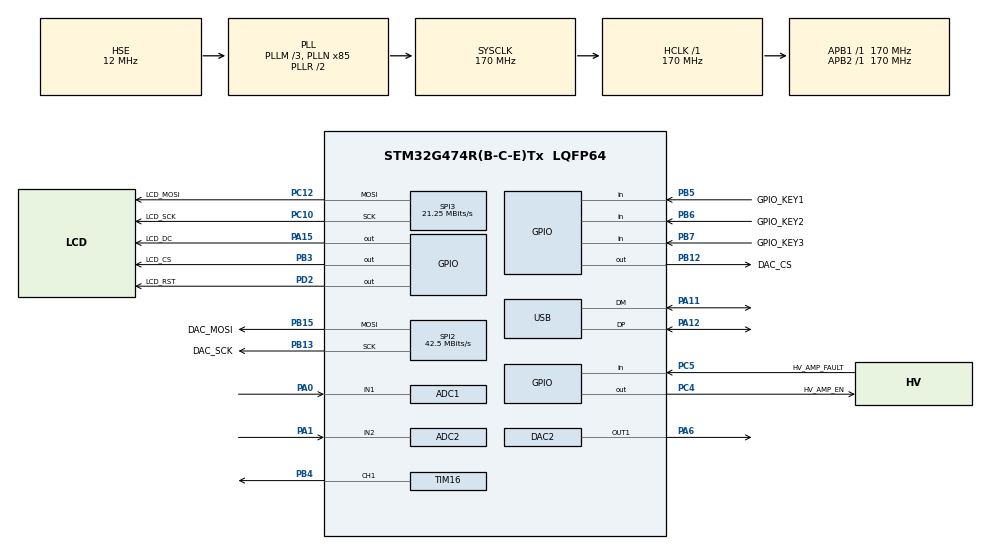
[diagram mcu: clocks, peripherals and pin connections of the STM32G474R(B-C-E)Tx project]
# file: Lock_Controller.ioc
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ADC1.Channel-0\#ChannelRegularConversion=ADC_CHANNEL_1
ADC1.ClockPrescaler=ADC_CLOCK_ASYNC_DIV1
ADC1.DMAAccessModeView=ENABLE
ADC1.DMAContinuousRequests=ENABLE
ADC1.ExternalTrigConv=ADC_EXTERNALTRIG_T1_TRGO
ADC1.Mode=ADC_DUALMODE_REGSIMULT
ADC1.NbrOfConversion=1
ADC1.NbrOfConversionFlag=1
ADC1.OffsetNumber-0\#ChannelRegularConversion=ADC_OFFSET_NONE
ADC1.OversamplingMode=DISABLE
ADC1.Rank-0\#ChannelRegularConversion=1
ADC1.SamplingTime-0\#ChannelRegularConversion=ADC_SAMPLETIME_2CYCLES_5
ADC1.master=1
ADC2.Channel-0\#ChannelRegularConversion=ADC_CHANNEL_2
ADC2.ClockPrescaler=ADC_CLOCK_ASYNC_DIV1
ADC2.DMAAccessModeView=ENABLE
ADC2.Mode=ADC_DUALMODE_REGSIMULT
ADC2.NbrOfConversion=1
ADC2.NbrOfConversionFlag=1
ADC2.OffsetNumber-0\#ChannelRegularConversion=ADC_OFFSET_NONE
ADC2.OversamplingMode=DISABLE
ADC2.Rank-0\#ChannelRegularConversion=1
ADC2.SamplingTime-0\#ChannelRegularConversion=ADC_SAMPLETIME_2CYCLES_5
Dma.ADC1.0.Direction=DMA_PERIPH_TO_MEMORY
Dma.ADC1.0.EventEnable=DISABLE
Dma.ADC1.0.Instance=DMA1_Channel1
Dma.ADC1.0.MemDataAlignment=DMA_MDATAALIGN_WORD
Dma.ADC1.0.MemInc=DMA_MINC_ENABLE
Dma.ADC1.0.Mode=DMA_CIRCULAR
Dma.ADC1.0.PeriphDataAlignment=DMA_PDATAALIGN_WORD
Dma.ADC1.0.PeriphInc=DMA_PINC_DISABLE
Dma.ADC1.0.Polarity=HAL_DMAMUX_REQ_GEN_RISING
Dma.ADC1.0.Priority=DMA_PRIORITY_LOW
Dma.ADC1.0.RequestNumber=1
Dma.ADC1.0.SignalID=NONE
Dma.ADC1.0.SyncEnable=DISABLE
Dma.ADC1.0.SyncPolarity=HAL_DMAMUX_SYNC_NO_EVENT
Dma.ADC1.0.SyncRequestNumber=1
Dma.ADC1.0.SyncSignalID=NONE
Dma.Request0=ADC1
Mcu.Family=STM32G4
Mcu.Name=STM32G474R(B-C-E)Tx
Mcu.Package=LQFP64
NVIC.ADC1_2_IRQn=true\:0\:0\:false\:false\:true\:true\:true\:true
NVIC.DMA1_Channel1_IRQn=true\:0\:0\:false\:false\:true\:false\:true\:true
NVIC.PriorityGroup=NVIC_PRIORITYGROUP_4
NVIC.TIM1_BRK_TIM15_IRQn=true\:15\:0\:true\:false\:true\:true\:true\:true
PA0.Mode=IN1-Single-Ended
PA0.Signal=ADC1_IN1
PA1.Mode=IN2-Single-Ended
PA1.Signal=ADC2_IN2
PA11.Mode=Device
PA11.Signal=USB_DM
PA12.Mode=Device
PA12.Signal=USB_DP
PA13.Mode=Serial_Wire
PA13.Signal=SYS_JTMS-SWDIO
PA14.Mode=Serial_Wire
PA14.Signal=SYS_JTCK-SWCLK
PA15.GPIO_Label=LCD_DC
PA15.GPIO_Speed=GPIO_SPEED_FREQ_VERY_HIGH
PA15.Signal=GPIO_Output
PA6.Signal=COMP_DAC21_group
PB12.GPIO_Label=DAC_CS
PB12.GPIO_Speed=GPIO_SPEED_FREQ_VERY_HIGH
PB12.PinState=GPIO_PIN_SET
PB12.Signal=GPIO_Output
PB13.GPIO_Label=DAC_SCK
PB13.GPIO_Speed=GPIO_SPEED_FREQ_VERY_HIGH
PB13.Mode=TX_Only_Simplex_Unidirect_Master
PB13.Signal=SPI2_SCK
PB15.GPIO_Label=DAC_MOSI
PB15.GPIO_Speed=GPIO_SPEED_FREQ_VERY_HIGH
PB15.Mode=TX_Only_Simplex_Unidirect_Master
PB15.Signal=SPI2_MOSI
PB3.GPIO_Label=LCD_CS
PB3.GPIO_Speed=GPIO_SPEED_FREQ_VERY_HIGH
PB3.PinState=GPIO_PIN_SET
PB3.Signal=GPIO_Output
PB4.Signal=S_TIM16_CH1
PB5.GPIO_Label=GPIO_KEY1
PB5.GPIO_PuPd=GPIO_PULLUP
PB5.Signal=GPIO_Input
PB6.GPIO_Label=GPIO_KEY2
PB6.GPIO_PuPd=GPIO_PULLUP
PB6.Signal=GPIO_Input
PB7.GPIO_Label=GPIO_KEY3
PB7.GPIO_PuPd=GPIO_PULLUP
PB7.Signal=GPIO_Input
PC10.GPIO_Label=LCD_SCK
PC10.GPIO_Speed=GPIO_SPEED_FREQ_VERY_HIGH
PC10.Mode=TX_Only_Simplex_Unidirect_Master
PC10.Signal=SPI3_SCK
PC12.GPIO_Label=LCD_MOSI
PC12.GPIO_Speed=GPIO_SPEED_FREQ_VERY_HIGH
PC12.Mode=TX_Only_Simplex_Unidirect_Master
PC12.Signal=SPI3_MOSI
PC4.GPIO_Label=HV_AMP_EN
PC4.PinState=GPIO_PIN_SET
PC4.Signal=GPIO_Output
PC5.GPIO_Label=HV_AMP_FAULT
PC5.GPIO_PuPd=GPIO_PULLUP
PC5.Signal=GPIO_Input
PD2.GPIO_Label=LCD_RST
PD2.Signal=GPIO_Output
PF0-OSC_IN.Mode=HSE-External-Oscillator
PF0-OSC_IN.Signal=RCC_OSC_IN
PF1-OSC_OUT.Mode=HSE-External-Oscillator
PF1-OSC_OUT.Signal=RCC_OSC_OUT
ProjectManager.HeapSize=0x200
ProjectManager.StackSize=0x400
ProjectManager.TargetToolchain=MDK-ARM V5
RCC.ADC12CLockSelection=RCC_ADC12CLKSOURCE_PLL
RCC.ADC12Freq_Value=56666666.666666664
RCC.ADC345Freq_Value=170000000
RCC.AHBFreq_Value=170000000
RCC.APB1Freq_Value=170000000
RCC.APB1TimFreq_Value=170000000
RCC.APB2Freq_Value=170000000
RCC.APB2TimFreq_Value=170000000
RCC.CK48CLockSelection=RCC_USBCLKSOURCE_HSI48
RCC.CortexFreq_Value=170000000
RCC.EXTERNAL_CLOCK_VALUE=12288000
RCC.HCLKFreq_Value=170000000
RCC.HSE_VALUE=12000000
RCC.HSI48_VALUE=48000000
RCC.HSI_VALUE=16000000
RCC.LSE_VALUE=32768
RCC.PLLM=RCC_PLLM_DIV3
RCC.PLLN=85
RCC.PLLP=RCC_PLLP_DIV6
RCC.PLLQ=RCC_PLLQ_DIV6
RCC.PLLSourceVirtual=RCC_PLLSOURCE_HSE
RCC.SYSCLKFreq_VALUE=170000000
RCC.SYSCLKSource=RCC_SYSCLKSOURCE_PLLCLK
RCC.USBFreq_Value=48000000
RCC.VCOOutputFreq_Value=340000000
SH.COMP_DAC21_group.0=DAC2_OUT1,DAC_OUT1
SH.S_TIM16_CH1.0=TIM16_CH1,PWM Generation1 CH1
SPI2.BaudRatePrescaler=SPI_BAUDRATEPRESCALER_4
SPI2.CalculateBaudRate=42.5 MBits/s
SPI2.DataSize=SPI_DATASIZE_16BIT
SPI2.Direction=SPI_DIRECTION_2LINES
SPI2.Mode=SPI_MODE_MASTER
SPI2.NSSPMode=SPI_NSS_PULSE_DISABLE
SPI2.VirtualType=VM_MASTER
SPI3.BaudRatePrescaler=SPI_BAUDRATEPRESCALER_8
SPI3.CalculateBaudRate=21.25 MBits/s
SPI3.DataSize=SPI_DATASIZE_8BIT
SPI3.Direction=SPI_DIRECTION_2LINES
SPI3.Mode=SPI_MODE_MASTER
SPI3.VirtualType=VM_MASTER
TIM1.AutoReloadPreload=TIM_AUTORELOAD_PRELOAD_ENABLE
TIM1.PeriodNoDither=849
TIM1.TIM_MasterOutputTrigger=TIM_TRGO_UPDATE
TIM1.TIM_MasterSlaveMode=TIM_MASTERSLAVEMODE_DISABLE
TIM15.AutoReloadPreload=TIM_AUTORELOAD_PRELOAD_ENABLE
TIM15.PeriodNoDither=1000 -1
TIM15.Prescaler=1700 -1
TIM16.Channel=TIM_CHANNEL_1
VP_SYS_VS_DBSignals.Mode=DisableDeadBatterySignals
VP_TIM15_VS_ClockSourceINT.Mode=Internal
VP_TIM16_VS_ClockSourceINT.Mode=Enable_Timer
VP_TIM1_VS_ClockSourceINT.Mode=Internal
board=custom

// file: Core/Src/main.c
/* USER CODE BEGIN Header */
/**
  ******************************************************************************
  * @file           : main.c
  * @brief          : Main program body
  ******************************************************************************
  * @attention
  *
  * Copyright (c) 2026 STMicroelectronics.
  * All rights reserved.
  *
  * This software is licensed under terms that can be found in the LICENSE file
  * in the root directory of this software component.
  * If no LICENSE file comes with this software, it is provided AS-IS.
  *
  ******************************************************************************
  */
/* USER CODE END Header */
#include "main.h"
#include "adc.h"
#include "dac.h"
#include "dma.h"
#include "spi.h"
#include "tim.h"
#include "usb.h"
#include "gpio.h"

/* USER CODE BEGIN Includes */
#include "app.h"
#include "app_hardware.h"
/* USER CODE END Includes */

/* USER CODE BEGIN PV */

HV_DAC_Handle_t hhvdac = {
    .spi      = SPI2,
    .cs_port  = DAC_CS_GPIO_Port,
    .cs_pin   = DAC_CS_Pin,
    .max_voltage = 100.0f,
};

HVAMP_Handle_t hhvamp = {
    .en_port    = HV_AMP_EN_GPIO_Port,
    .en_pin     = HV_AMP_EN_Pin,
    .fault_port = HV_AMP_FAULT_GPIO_Port,
    .fault_pin  = HV_AMP_FAULT_Pin,
};

const Button_Config_t btn_map[] = {
    {GPIOB, GPIO_KEY1_Pin, BTN_ID_DOWN},
    {GPIOB, GPIO_KEY2_Pin, BTN_ID_UP},
    {GPIOB, GPIO_KEY3_Pin, BTN_ID_ENTER}
};

Button_Handle_t hbtn = {
    .configs = btn_map,
    .count   = 3,
    .htim    = &htim15,
};

ST7735_Handle_t hlcd = {
    .spi         = &hspi3,
    .cs_port     = LCD_CS_GPIO_Port,   .cs_pin  = LCD_CS_Pin,
    .dc_port     = LCD_DC_GPIO_Port,   .dc_pin  = LCD_DC_Pin,
    .res_port    = LCD_RST_GPIO_Port,  .res_pin = LCD_RST_Pin,
    .blk_timer   = &htim16,
    .blk_channel = TIM_CHANNEL_1,
};

PDADC_Handle_t hpdadc = {
    .hadc_master = &hadc1,
    .hadc_slave  = &hadc2,
    .htim_trig   = &htim1,
    .busy        = 0U,
};

static AppHardware_t hw_inst = {
    .hbtn  = &hbtn,
    .hvdac = &hhvdac,
    .hvamp = &hhvamp,
    .hlcd  = &hlcd,
    .hpdadc = &hpdadc,
};
AppHardware_t * const g_hw = &hw_inst;

/* USER CODE END PV */

void SystemClock_Config(void);

int main(void)
{

  /* MCU Configuration--------------------------------------------------------*/

  /* Reset of all peripherals, Initializes the Flash interface and the Systick. */
  HAL_Init();

  /* Configure the system clock */
  SystemClock_Config();

  /* Initialize all configured peripherals */
  MX_GPIO_Init();
  MX_DMA_Init();
  MX_USB_PCD_Init();
  MX_ADC1_Init();
  MX_ADC2_Init();
  MX_DAC2_Init();
  MX_SPI2_Init();
  MX_SPI3_Init();
  MX_TIM16_Init();
  MX_TIM1_Init();
  MX_TIM15_Init();
  /* USER CODE BEGIN 2 */
  PDADC_Init(g_hw->hpdadc);
  ST7735_Init(g_hw->hlcd);
  // DBG_DAC_Init();
  HVDAC_Init(g_hw->hvdac);
  HVAMP_Init(g_hw->hvamp);
  BTN_Init(g_hw->hbtn);
  APP_Init();

  /* USER CODE END 2 */

  /* Infinite loop */
  /* USER CODE BEGIN WHILE */
  while (1)
  {
    if (HVAMP_ReadFault(g_hw->hvamp)) {
        HVAMP_Disable(g_hw->hvamp);
        APP_SetFault(APP_FAULT_HVAMP);
    }

    Button_Event_t evt;
    while (BTN_GetEvent(&evt)) {
      APP_OnButton(evt);
    }

    APP_Process();
    APP_RenderIfNeeded();

    /* USER CODE END WHILE */

  }
}

void SystemClock_Config(void)
{
  RCC_OscInitTypeDef RCC_OscInitStruct = {0};
  RCC_ClkInitTypeDef RCC_ClkInitStruct = {0};

  /** Configure the main internal regulator output voltage
  */
  HAL_PWREx_ControlVoltageScaling(PWR_REGULATOR_VOLTAGE_SCALE1_BOOST);

  /** Initializes the RCC Oscillators according to the specified parameters
  * in the RCC_OscInitTypeDef structure.
  */
  RCC_OscInitStruct.OscillatorType = RCC_OSCILLATORTYPE_HSI48|RCC_OSCILLATORTYPE_HSE;
  RCC_OscInitStruct.HSEState = RCC_HSE_ON;
  RCC_OscInitStruct.HSI48State = RCC_HSI48_ON;
  RCC_OscInitStruct.PLL.PLLState = RCC_PLL_ON;
  RCC_OscInitStruct.PLL.PLLSource = RCC_PLLSOURCE_HSE;
  RCC_OscInitStruct.PLL.PLLM = RCC_PLLM_DIV3;
  RCC_OscInitStruct.PLL.PLLN = 85;
  RCC_OscInitStruct.PLL.PLLP = RCC_PLLP_DIV6;
  RCC_OscInitStruct.PLL.PLLQ = RCC_PLLQ_DIV6;
  RCC_OscInitStruct.PLL.PLLR = RCC_PLLR_DIV2;
  if (HAL_RCC_OscConfig(&RCC_OscInitStruct) != HAL_OK)
  {
    Error_Handler();
  }

  /** Initializes the CPU, AHB and APB buses clocks
  */
  RCC_ClkInitStruct.ClockType = RCC_CLOCKTYPE_HCLK|RCC_CLOCKTYPE_SYSCLK
                              |RCC_CLOCKTYPE_PCLK1|RCC_CLOCKTYPE_PCLK2;
  RCC_ClkInitStruct.SYSCLKSource = RCC_SYSCLKSOURCE_PLLCLK;
  RCC_ClkInitStruct.AHBCLKDivider = RCC_SYSCLK_DIV1;
  RCC_ClkInitStruct.APB1CLKDivider = RCC_HCLK_DIV1;
  RCC_ClkInitStruct.APB2CLKDivider = RCC_HCLK_DIV1;

  if (HAL_RCC_ClockConfig(&RCC_ClkInitStruct, FLASH_LATENCY_4) != HAL_OK)
  {
    Error_Handler();
  }
}

/* USER CODE BEGIN 4 */
void HAL_TIM_PeriodElapsedCallback(TIM_HandleTypeDef *htim) {
    if (htim->Instance == TIM15) {
        BTN_Process(&hbtn);
    }
}
/* USER CODE END 4 */

void Error_Handler(void)
{
  __disable_irq();
  while (1)
  {
  }
}
